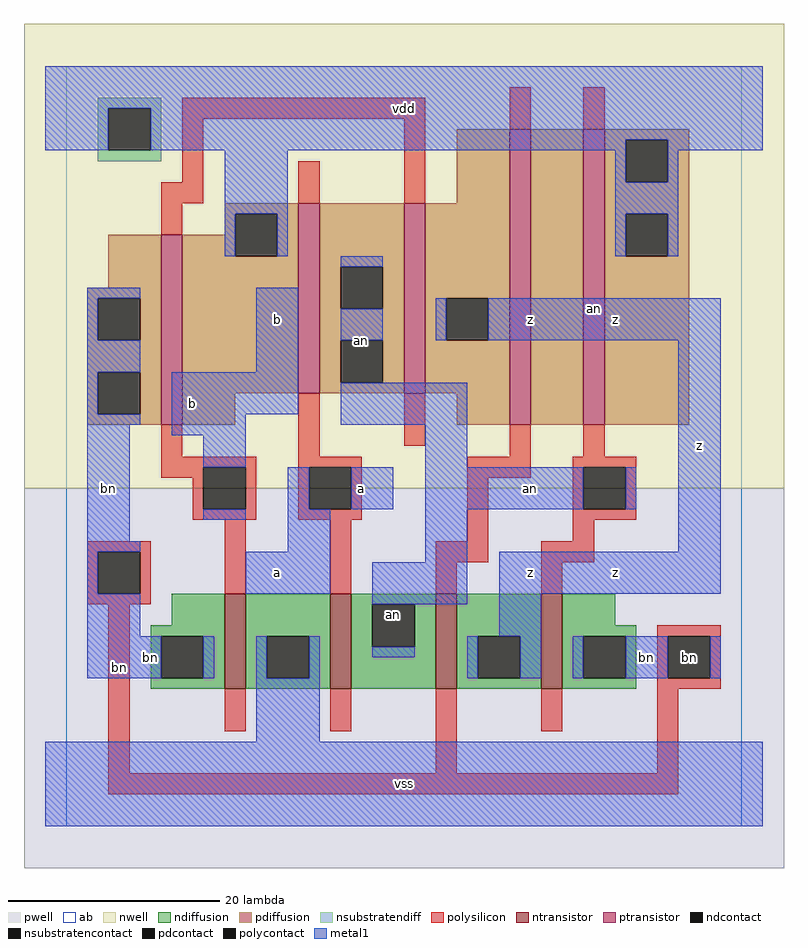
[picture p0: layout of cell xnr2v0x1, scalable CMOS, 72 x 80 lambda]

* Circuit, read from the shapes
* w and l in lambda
.subckt xnr2v0x1 a an b bn vdd vss z
M1 vss b bn VSUBS nfet w=9 l=2
M2 an a vss VSUBS nfet w=9 l=2
M3 z bn an VSUBS nfet w=9 l=2
M4 bn an z VSUBS nfet w=9 l=2
M5 vdd b bn vdd pfet w=18 l=2
M6 an a vdd vdd pfet w=18 l=2
M7 z b an vdd pfet w=18 l=2
M8 n1 bn z vdd pfet w=28 l=2
M9 vdd an n1 vdd pfet w=28 l=2
.ends

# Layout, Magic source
magic
tech scmos
<< ab >>
rect 0 0 64 72
<< pwell >>
rect -4 -4 68 32
<< nwell >>
rect -4 32 68 76
<< polysilicon >>
rect 11 67 34 69
rect 11 61 13 67
rect 9 59 13 61
rect 22 59 24 63
rect 32 59 34 67
rect 42 66 44 70
rect 49 66 51 70
rect 9 56 11 59
rect 9 35 11 38
rect 22 35 24 41
rect 32 36 34 41
rect 42 35 44 38
rect 49 35 51 38
rect 9 34 18 35
rect 9 33 13 34
rect 12 30 13 33
rect 17 30 18 34
rect 12 29 18 30
rect 22 34 28 35
rect 22 30 23 34
rect 27 30 28 34
rect 22 29 28 30
rect 38 33 44 35
rect 48 34 54 35
rect 2 26 8 27
rect 2 22 3 26
rect 7 22 8 26
rect 15 22 17 29
rect 25 22 27 29
rect 38 27 40 33
rect 48 30 49 34
rect 53 30 54 34
rect 48 29 54 30
rect 48 27 50 29
rect 35 25 40 27
rect 45 25 50 27
rect 35 22 37 25
rect 45 22 47 25
rect 2 21 8 22
rect 4 5 6 21
rect 56 18 62 19
rect 56 14 57 18
rect 61 14 62 18
rect 56 13 62 14
rect 15 9 17 13
rect 25 9 27 13
rect 35 5 37 13
rect 45 9 47 13
rect 56 5 58 13
rect 4 3 58 5
<< ndiffusion >>
rect 10 19 15 22
rect 8 18 15 19
rect 8 14 9 18
rect 13 14 15 18
rect 8 13 15 14
rect 17 18 25 22
rect 17 14 19 18
rect 23 14 25 18
rect 17 13 25 14
rect 27 21 35 22
rect 27 17 29 21
rect 33 17 35 21
rect 27 13 35 17
rect 37 18 45 22
rect 37 14 39 18
rect 43 14 45 18
rect 37 13 45 14
rect 47 19 52 22
rect 47 18 54 19
rect 47 14 49 18
rect 53 14 54 18
rect 47 13 54 14
<< pdiffusion >>
rect 37 59 42 66
rect 15 58 22 59
rect 15 56 16 58
rect 4 51 9 56
rect 2 50 9 51
rect 2 46 3 50
rect 7 46 9 50
rect 2 43 9 46
rect 2 39 3 43
rect 7 39 9 43
rect 2 38 9 39
rect 11 54 16 56
rect 20 54 22 58
rect 11 41 22 54
rect 24 53 32 59
rect 24 49 26 53
rect 30 49 32 53
rect 24 46 32 49
rect 24 42 26 46
rect 30 42 32 46
rect 24 41 32 42
rect 34 50 42 59
rect 34 46 36 50
rect 40 46 42 50
rect 34 41 42 46
rect 11 38 16 41
rect 37 38 42 41
rect 44 38 49 66
rect 51 65 59 66
rect 51 61 53 65
rect 57 61 59 65
rect 51 58 59 61
rect 51 54 53 58
rect 57 54 59 58
rect 51 38 59 54
<< metal1 >>
rect -2 68 66 72
rect -2 64 4 68
rect 8 65 66 68
rect 8 64 53 65
rect 15 58 21 64
rect 15 54 16 58
rect 20 54 21 58
rect 52 61 53 64
rect 57 64 66 65
rect 57 61 58 64
rect 52 58 58 61
rect 52 54 53 58
rect 57 54 58 58
rect 26 53 30 54
rect 2 50 7 51
rect 2 46 3 50
rect 2 43 7 46
rect 18 43 22 51
rect 2 39 3 43
rect 2 38 7 39
rect 10 39 22 43
rect 26 46 30 49
rect 35 46 36 50
rect 40 46 62 50
rect 2 27 6 38
rect 10 37 17 39
rect 26 38 38 42
rect 13 34 17 37
rect 34 34 38 38
rect 13 29 17 30
rect 21 30 23 34
rect 27 30 31 34
rect 34 30 49 34
rect 53 30 54 34
rect 2 26 7 27
rect 21 26 25 30
rect 2 22 3 26
rect 17 22 25 26
rect 34 25 38 30
rect 58 26 62 46
rect 2 18 7 22
rect 29 21 38 25
rect 41 22 62 26
rect 2 14 9 18
rect 13 14 14 18
rect 18 14 19 18
rect 23 14 24 18
rect 41 18 45 22
rect 29 16 33 17
rect 38 14 39 18
rect 43 14 45 18
rect 48 14 49 18
rect 53 14 57 18
rect 61 14 62 18
rect 18 8 24 14
rect -2 0 66 8
<< ntransistor >>
rect 15 13 17 22
rect 25 13 27 22
rect 35 13 37 22
rect 45 13 47 22
<< ptransistor >>
rect 9 38 11 56
rect 22 41 24 59
rect 32 41 34 59
rect 42 38 44 66
rect 49 38 51 66
<< polycontact >>
rect 13 30 17 34
rect 23 30 27 34
rect 3 22 7 26
rect 49 30 53 34
rect 57 14 61 18
<< ndcontact >>
rect 9 14 13 18
rect 19 14 23 18
rect 29 17 33 21
rect 39 14 43 18
rect 49 14 53 18
<< pdcontact >>
rect 3 46 7 50
rect 3 39 7 43
rect 16 54 20 58
rect 26 49 30 53
rect 26 42 30 46
rect 36 46 40 50
rect 53 61 57 65
rect 53 54 57 58
<< nsubstratencontact >>
rect 4 64 8 68
<< nsubstratendiff >>
rect 3 68 9 69
rect 3 64 4 68
rect 8 64 9 68
rect 3 63 9 64
<< labels >>
rlabel polysilicon 5 15 5 15 6 bn
rlabel polycontact 59 16 59 16 6 bn
rlabel ptransistor 50 49 50 49 6 an
rlabel metal1 8 16 8 16 6 bn
rlabel metal1 12 40 12 40 6 b
rlabel metal1 4 32 4 32 6 bn
rlabel metal1 20 24 20 24 6 a
rlabel metal1 28 32 28 32 6 a
rlabel metal1 28 46 28 46 6 an
rlabel metal1 20 48 20 48 6 b
rlabel metal1 32 4 32 4 6 vss
rlabel ndcontact 31 20 31 20 6 an
rlabel metal1 44 24 44 24 6 z
rlabel metal1 44 48 44 48 6 z
rlabel metal1 32 68 32 68 6 vdd
rlabel metal1 55 16 55 16 6 bn
rlabel metal1 52 24 52 24 6 z
rlabel metal1 44 32 44 32 6 an
rlabel metal1 60 36 60 36 6 z
rlabel metal1 52 48 52 48 6 z
<< end >>
